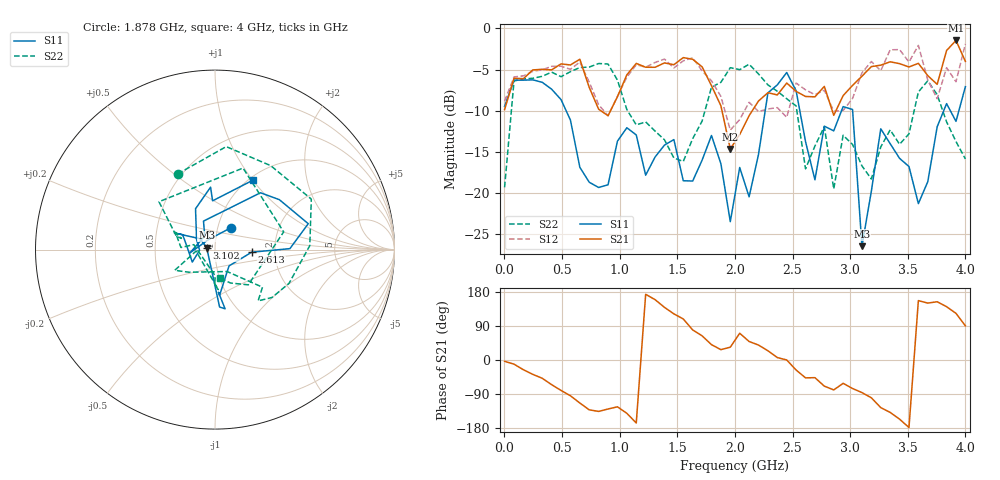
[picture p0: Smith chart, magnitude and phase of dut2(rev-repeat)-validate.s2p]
!Created with skrf (http://scikit-rf.org).
# GHz S DB R 50.0
!freq dBS11 angS11 dBS21 angS21 dBS12 angS12 dBS22 angS22
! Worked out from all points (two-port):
!   50 points, 1 MHz to 4 GHz, reference 50 ohm
!   highest |S21| = -1.46 dB at 3.918 GHz (marker M1); lowest = -14.7 dB at 1.96 GHz (marker M2)
!   |S21| within 3 dB of the highest: 474 MHz to 670.9 MHz (196.9 MHz wide, 34.4 % of centre); 1.347 GHz to 1.696 GHz (349 MHz wide, 22.9 % of centre)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
!   lowest |S11| = -26.5 dB at 3.102 GHz (marker M3), VSWR 1.10, Z = 45.6 + j0.943 ohm
!   |S11| at or under -10 dB: 534.6 MHz to 2.263 GHz (1.728 GHz wide, 124 % of centre); 2.563 GHz to 2.925 GHz (362.7 MHz wide, 13.2 % of centre); 3.021 GHz to 3.812 GHz (790.8 MHz wide, 23.1 % of centre)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
!   |S22| runs from -19.5 to -4.3 dB; largest |S21 - S12| = 0.38
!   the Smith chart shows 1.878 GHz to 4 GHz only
!   S11 on the Smith chart (normalised r, x): 1.878 GHz: 1.16, +0.29; 2.613 GHz: 1.51, -0.05; 3.102 GHz: 0.91, +0.02; 4 GHz: 1.04, +1.01
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0.001  -9.50 -176.9  -9.87 -3.5  -8.84 -14.4  -19.34 19.7
0.08261224  -6.29 163.7  -6.06 -10.9  -5.90 -11.3  -6.39 168.1
0.2458367  -6.26 128.7  -5.05 -37.9  -5.22 -34.9  -6.07 141.8
0.4906735  -8.66 54.7  -4.31 -80.3  -4.59 -73.4  -5.87 87.8
0.7355102  -18.72 -68.2  -7.17 -131.5  -6.54 -143.2  -4.70 10.1
0.8987347  -19.03 95.8  -10.62 -129.3  -10.63 -135.4  -4.33 -44.6
1.061959  -12.09 9.8  -5.65 -140.7  -5.93 -142.2  -9.87 -78.6
1.388408  -14.20 -114.0  -4.19 138.9  -3.73 148.3  -13.55 -138.9
1.633245  -18.57 142.0  -3.75 79.4  -3.57 79.7  -13.41 171.0
1.878082  -16.46 54.0  -9.41 27.3  -8.27 36.4  -6.56 116.3
1.959694  -23.52 125.4  -14.67 33.8  -12.37 43.7  -4.77 83.8
2.041306  -16.92 -172.1  -12.91 70.6  -11.09 54.6  -5.02 56.4
2.449367  -5.36 15.5  -6.65 0.1  -10.82 -4.6  -8.56 -50.0
2.612592  -13.77 -4.1  -8.28 -47.1  -7.47 -37.6  -17.09 -61.0
2.694204  -18.42 -49.3  -8.32 -46.6  -8.06 -31.3  -14.31 -139.1
3.020653  -9.86 -85.4  -6.93 -75.3  -8.52 -80.5  -14.13 -90.3
3.102265  -26.50 167.4  -5.81 -86.0  -5.40 -103.9  -16.73 -89.6
3.347102  -14.02 155.2  -4.06 -138.3  -2.60 -150.0  -12.34 156.3
3.591939  -21.32 -177.4  -4.25 156.7  -2.06 164.1  -7.73 139.5
3.673551  -18.65 151.5  -5.75 150.2  -6.27 149.1  -6.37 71.0
3.918388  -11.31 92.8  -1.46 123.1  -6.48 129.2  -13.76 -65.2
4  -7.09 61.2  -4.01 90.1  -1.87 92.7  -15.89 -80.5
